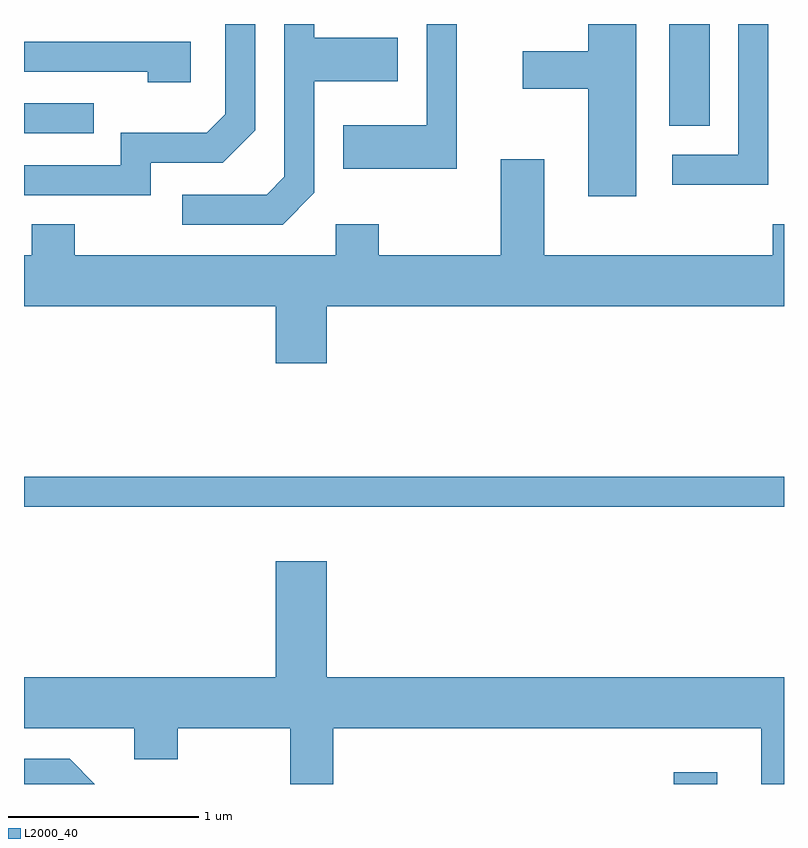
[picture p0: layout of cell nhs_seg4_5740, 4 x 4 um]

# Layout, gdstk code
import gdstk
lib = gdstk.Library(unit=1e-6, precision=1e-09)
def R(c, l, rs):  # rectangles x0, y0, x1, y1
    for r in rs: c.add(gdstk.rectangle(r[:2], r[2:], *l))
def P(c, l, *ps):  # polygons
    for p in ps: c.add(gdstk.Polygon(p, *l))
L2000_40 = (2000, 40)

nhs_seg4_5740 = lib.new_cell('nhs_seg4_5740')
R(nhs_seg4_5740, L2000_40, [(357.031,1309.982,357.259,1310.044), (353.611,1311.441,357.611,1311.599), (353.611,1313.406,353.978,1313.564), (357.006,1313.446,357.219,1313.982)])
P(nhs_seg4_5740, L2000_40, [(355.889,1313.982),(355.731,1313.982),(355.731,1313.449),(355.291,1313.449),(355.291,1313.221),(355.889,1313.221)],
  [(356.834,1313.982),(356.581,1313.982),(356.581,1313.839),(356.236,1313.839),(356.236,1313.641),(356.581,1313.641),(356.581,1313.076),(356.834,1313.076)],
  [(357.529,1313.982),(357.371,1313.982),(357.371,1313.294),(357.023,1313.294),(357.023,1313.136),(357.529,1313.136)],
  [(354.279,1313.251),(354.657,1313.251),(354.829,1313.424),(354.829,1313.982),(354.671,1313.982),(354.671,1313.507),(354.574,1313.409),(354.121,1313.409),(354.121,1313.239),(353.611,1313.239),(353.611,1313.081),(354.279,1313.081)],
  [(355.139,1313.094),(355.139,1313.681),(355.579,1313.681),(355.579,1313.909),(355.139,1313.909),(355.139,1313.982),(354.981,1313.982),(354.981,1313.177),(354.889,1313.084),(354.443,1313.084),(354.443,1312.926),(354.972,1312.926)],
  [(354.489,1313.889),(353.611,1313.889),(353.611,1313.731),(354.261,1313.731),(354.261,1313.676),(354.489,1313.676)],
  [(355.204,1312.496),(357.611,1312.496),(357.611,1312.929),(357.551,1312.929),(357.551,1312.764),(356.349,1312.764),(356.349,1313.269),(356.121,1313.269),(356.121,1312.764),(355.479,1312.764),(355.479,1312.929),(355.251,1312.929),(355.251,1312.764),(353.879,1312.764),(353.879,1312.929),(353.651,1312.929),(353.651,1312.764),(353.611,1312.764),(353.611,1312.496),(354.936,1312.496),(354.936,1312.196),(355.204,1312.196)],
  [(355.239,1310.276),(357.491,1310.276),(357.491,1309.982),(357.611,1309.982),(357.611,1310.544),(355.204,1310.544),(355.204,1311.154),(354.936,1311.154),(354.936,1310.544),(353.611,1310.544),(353.611,1310.276),(354.191,1310.276),(354.191,1310.111),(354.419,1310.111),(354.419,1310.276),(355.011,1310.276),(355.011,1309.982),(355.239,1309.982)],
  [(353.852,1310.114),(353.611,1310.114),(353.611,1309.982),(353.984,1309.982)])

lib.write_gds('nhs_seg4_5740.gds')
